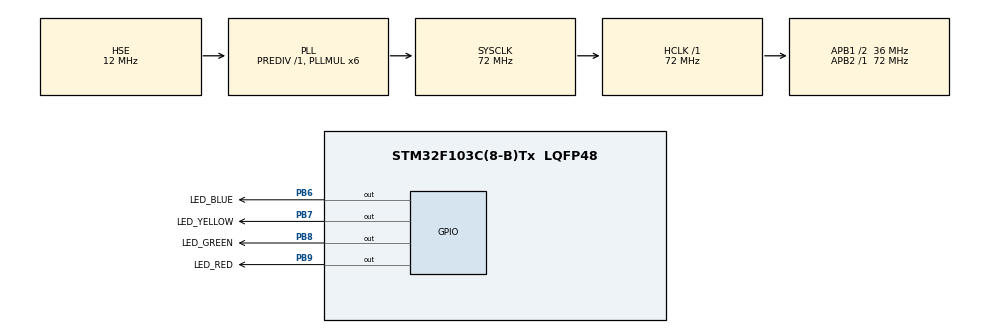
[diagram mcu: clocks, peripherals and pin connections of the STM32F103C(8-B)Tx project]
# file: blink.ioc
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Mcu.Family=STM32F1
Mcu.Name=STM32F103C(8-B)Tx
Mcu.Package=LQFP48
NVIC.PriorityGroup=NVIC_PRIORITYGROUP_4
PA13.Mode=Serial_Wire
PA13.Signal=SYS_JTMS-SWDIO
PA14.Mode=Serial_Wire
PA14.Signal=SYS_JTCK-SWCLK
PB6.GPIO_Label=LED_BLUE
PB6.GPIO_ModeDefaultOutputPP=GPIO_MODE_OUTPUT_OD
PB6.PinState=GPIO_PIN_SET
PB6.Signal=GPIO_Output
PB7.GPIO_Label=LED_YELLOW
PB7.GPIO_ModeDefaultOutputPP=GPIO_MODE_OUTPUT_OD
PB7.PinState=GPIO_PIN_SET
PB7.Signal=GPIO_Output
PB8.GPIO_Label=LED_GREEN
PB8.GPIO_ModeDefaultOutputPP=GPIO_MODE_OUTPUT_OD
PB8.PinState=GPIO_PIN_SET
PB8.Signal=GPIO_Output
PB9.GPIO_Label=LED_RED
PB9.GPIO_ModeDefaultOutputPP=GPIO_MODE_OUTPUT_OD
PB9.PinState=GPIO_PIN_RESET
PB9.Signal=GPIO_Output
PD0-OSC_IN.Mode=HSE-External-Oscillator
PD0-OSC_IN.Signal=RCC_OSC_IN
PD1-OSC_OUT.Mode=HSE-External-Oscillator
PD1-OSC_OUT.Signal=RCC_OSC_OUT
ProjectManager.HeapSize=0x200
ProjectManager.StackSize=0x400
ProjectManager.TargetToolchain=STM32CubeIDE
RCC.AHBFreq_Value=72000000
RCC.APB1CLKDivider=RCC_HCLK_DIV2
RCC.APB1Freq_Value=36000000
RCC.APB1TimFreq_Value=72000000
RCC.APB2Freq_Value=72000000
RCC.APB2TimFreq_Value=72000000
RCC.HCLKFreq_Value=72000000
RCC.HSE_VALUE=12000000
RCC.PLLMUL=RCC_PLL_MUL6
RCC.PLLSourceVirtual=RCC_PLLSOURCE_HSE
RCC.SYSCLKFreq_VALUE=72000000
RCC.SYSCLKSource=RCC_SYSCLKSOURCE_PLLCLK
RCC.USBFreq_Value=72000000
board=custom

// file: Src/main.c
/* USER CODE BEGIN Header */
/**
  ******************************************************************************
  * @file           : main.c
  * @brief          : Main program body
  ******************************************************************************
  * @attention
  *
  * <h2><center>&copy; Copyright (c) 2020 STMicroelectronics.
  * All rights reserved.</center></h2>
  *
  * This software component is licensed by ST under BSD 3-Clause license,
  * the "License"; You may not use this file except in compliance with the
  * License. You may obtain a copy of the License at:
  *                        opensource.org/licenses/BSD-3-Clause
  *
  ******************************************************************************
  */
/* USER CODE END Header */

#include "main.h"

/* USER CODE BEGIN Includes */
#include "tos_k.h"
/* USER CODE END Includes */

void SystemClock_Config(void);
static void MX_GPIO_Init(void);

/* USER CODE BEGIN 0 */
#define TASK_SIZE 512
k_task_t task1_handle;
k_task_t task2_handle;
uint8_t task1_stk[TASK_SIZE];
uint8_t task2_stk[TASK_SIZE];

typedef struct {
	GPIO_TypeDef* port;
	uint16_t pin;
} LED_t;

LED_t leds[] = {
		{ LED_BLUE_GPIO_Port, 	LED_BLUE_Pin },
		{ LED_YELLOW_GPIO_Port, LED_YELLOW_Pin },
		{ LED_GREEN_GPIO_Port, 	LED_GREEN_Pin },
		{ LED_RED_GPIO_Port, 	LED_RED_Pin },
};

void binary(int mode) {
	for(int n=0; n<16; n++) {
		for(int i=0; i<4; i++) {
			int x = mode == 0 ? 4 - 1 - i : i;
			HAL_GPIO_WritePin(leds[x].port, leds[x].pin, ((1 << i) & n) ? GPIO_PIN_RESET : GPIO_PIN_SET);
		}

		tos_task_delay(200);
	}
}

void loop(int mode) {
	for(int n=0; n<20; n++) {
		for(int i=0; i<4; i++) {
			int x = mode == 0 ? 4 - 1 - i : i;
			HAL_GPIO_WritePin(leds[x].port, leds[x].pin, (i == (n % 4)) ? GPIO_PIN_RESET : GPIO_PIN_SET);
		}

		tos_task_delay(200);
	}
}

void task1(void *arg)
{
    while (1) {
    	loop(0);
    	loop(1);
    	binary(0);
    	binary(1);
    }
}

void task2(void *arg)
{
    while (1) {
    	tos_task_delay(1234);
    }
}

/* USER CODE END 0 */

int main(void)
{

  /* MCU Configuration--------------------------------------------------------*/

  /* Reset of all peripherals, Initializes the Flash interface and the Systick. */
  HAL_Init();

  /* Configure the system clock */
  SystemClock_Config();

  /* Initialize all configured peripherals */
  MX_GPIO_Init();
  /* USER CODE BEGIN 2 */
  tos_knl_init();
  tos_task_create(&task1_handle, "task1", task1,      NULL, 3, task1_stk, TASK_SIZE, 0);
  tos_task_create(&task2_handle, "task2", task2,      NULL, 3, task2_stk, TASK_SIZE, 0);

  tos_knl_start();
  /* USER CODE END 2 */

  /* Infinite loop */
  while (1)
  {

  }
}

void SystemClock_Config(void)
{
  RCC_OscInitTypeDef RCC_OscInitStruct = {0};
  RCC_ClkInitTypeDef RCC_ClkInitStruct = {0};

  /** Initializes the CPU, AHB and APB busses clocks
  */
  RCC_OscInitStruct.OscillatorType = RCC_OSCILLATORTYPE_HSE;
  RCC_OscInitStruct.HSEState = RCC_HSE_ON;
  RCC_OscInitStruct.HSEPredivValue = RCC_HSE_PREDIV_DIV1;
  RCC_OscInitStruct.HSIState = RCC_HSI_ON;
  RCC_OscInitStruct.PLL.PLLState = RCC_PLL_ON;
  RCC_OscInitStruct.PLL.PLLSource = RCC_PLLSOURCE_HSE;
  RCC_OscInitStruct.PLL.PLLMUL = RCC_PLL_MUL6;
  if (HAL_RCC_OscConfig(&RCC_OscInitStruct) != HAL_OK)
  {
    Error_Handler();
  }
  /** Initializes the CPU, AHB and APB busses clocks
  */
  RCC_ClkInitStruct.ClockType = RCC_CLOCKTYPE_HCLK|RCC_CLOCKTYPE_SYSCLK
                              |RCC_CLOCKTYPE_PCLK1|RCC_CLOCKTYPE_PCLK2;
  RCC_ClkInitStruct.SYSCLKSource = RCC_SYSCLKSOURCE_PLLCLK;
  RCC_ClkInitStruct.AHBCLKDivider = RCC_SYSCLK_DIV1;
  RCC_ClkInitStruct.APB1CLKDivider = RCC_HCLK_DIV2;
  RCC_ClkInitStruct.APB2CLKDivider = RCC_HCLK_DIV1;

  if (HAL_RCC_ClockConfig(&RCC_ClkInitStruct, FLASH_LATENCY_2) != HAL_OK)
  {
    Error_Handler();
  }
}

static void MX_GPIO_Init(void)
{
  GPIO_InitTypeDef GPIO_InitStruct = {0};

  /* GPIO Ports Clock Enable */
  __HAL_RCC_GPIOD_CLK_ENABLE();
  __HAL_RCC_GPIOA_CLK_ENABLE();
  __HAL_RCC_GPIOB_CLK_ENABLE();

  /*Configure GPIO pin Output Level */
  HAL_GPIO_WritePin(GPIOB, LED_BLUE_Pin|LED_YELLOW_Pin|LED_GREEN_Pin, GPIO_PIN_SET);

  /*Configure GPIO pin Output Level */
  HAL_GPIO_WritePin(LED_RED_GPIO_Port, LED_RED_Pin, GPIO_PIN_RESET);

  /*Configure GPIO pins : LED_BLUE_Pin LED_YELLOW_Pin LED_GREEN_Pin LED_RED_Pin */
  GPIO_InitStruct.Pin = LED_BLUE_Pin|LED_YELLOW_Pin|LED_GREEN_Pin|LED_RED_Pin;
  GPIO_InitStruct.Mode = GPIO_MODE_OUTPUT_OD;
  GPIO_InitStruct.Pull = GPIO_NOPULL;
  GPIO_InitStruct.Speed = GPIO_SPEED_FREQ_LOW;
  HAL_GPIO_Init(GPIOB, &GPIO_InitStruct);

}

void Error_Handler(void)
{
}

/************************ (C) COPYRIGHT STMicroelectronics *****END OF FILE****/
